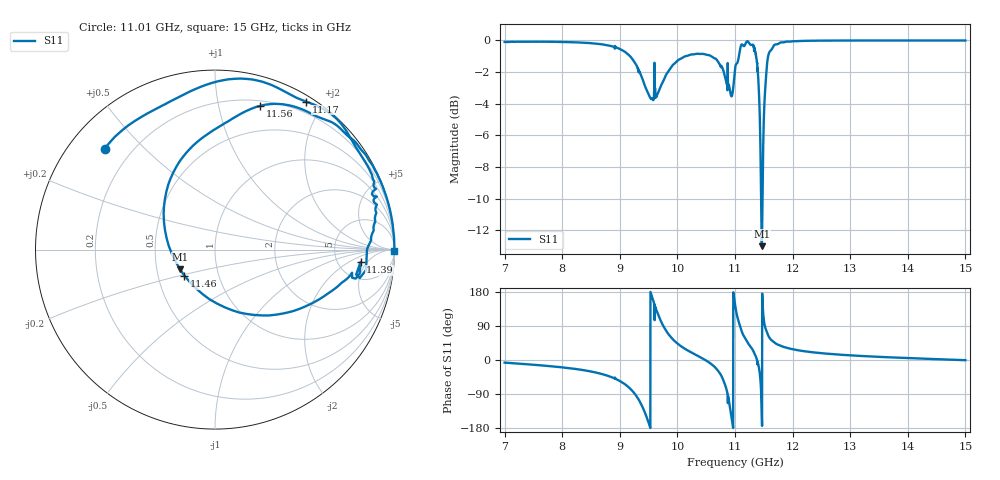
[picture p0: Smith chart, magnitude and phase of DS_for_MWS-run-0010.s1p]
! TOUCHSTONE file generated by CST DESIGN STUDIO
! Date and time: Mon Feb 10 16:47:04 2025
! Project name: C:\Work\MatlabApps\UnitCellType2OptimizationMatlab\CST\unitcell.cst
! Tree item: Tasks\Sweep1\SPara1\S-Parameters
! Header version: 2024
! Port assignment regex: !\s*Touchstone port\s*([0-9]+)\s*=\s*(CST MWS port|CST DES external port|CST DES block port)\s*(.+)\s* \(\"(.*)\"\)(\s*mode\s*([0-9]+))?.*
! Touchstone port assignment:
! Touchstone port 1 = CST DES external port 1 ("")
# GHz S MA R 50
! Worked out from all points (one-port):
!   4001 points, 7 GHz to 15 GHz, reference 50 ohm
!   lowest |S11| = -13.0 dB at 11.47 GHz (marker M1), VSWR 1.58, Z = 33 - j7.58 ohm
!   |S11| at or under -10 dB: 11.45285 GHz to 11.47751 GHz (24.66 MHz wide, 0.215 % of centre)
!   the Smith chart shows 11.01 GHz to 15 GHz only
!   S11 on the Smith chart (normalised r, x): 11.01 GHz: 0.10, +0.39; 11.17 GHz: 0.07, +1.79; 11.39 GHz: 8.34, -3.41; 11.46 GHz: 0.68, -0.21; 11.56 GHz: 0.25, +1.34; 15 GHz: open
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7  0.9893 -6.9
8  0.9887 -19.4
9  0.94 -55.4
9.314  0.8114 -101.3
9.524  0.6602 -176.7
9.632  0.6669 133.4
9.724  0.7251 99.1
10  0.8623 43.7
10.596  0.8898 -11.7
10.752  0.8321 -38.4
10.854  0.7333 -78.5
10.92  0.6816 -132.7
11  0.8131 147.6
11.01  0.833 137.5
11.08  0.9191 93.2
11.174  0.9686 58.3
11.314  0.9657 24.8
11.392  0.8139 -4.9
11.428  0.5946 -32.2
11.464  0.224 -139.5
11.466  0.2235 -150.8
11.5  0.5615 106.7
11.556  0.8402 72.5
11.698  0.9708 44.4
12  0.9949 28.4
13  0.9993 12.3
14  0.9999 5.1
15  0.9996 -0.5
